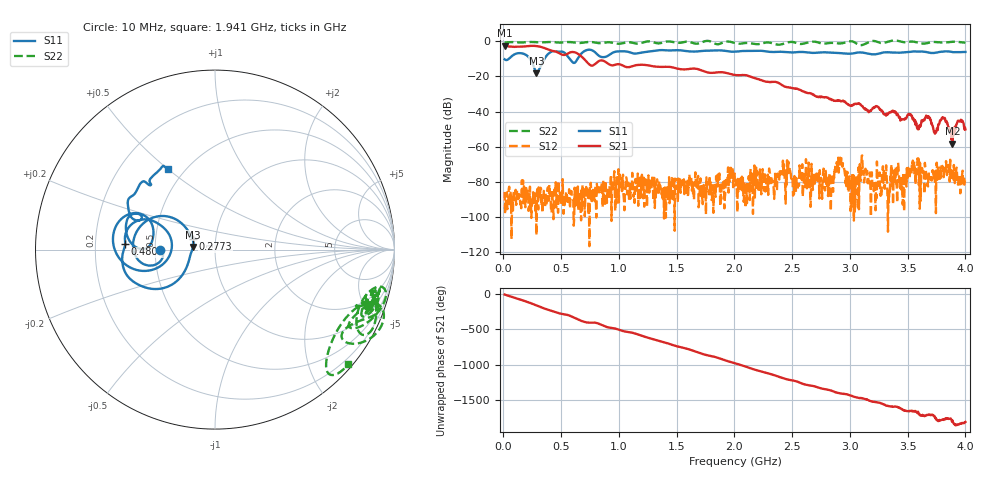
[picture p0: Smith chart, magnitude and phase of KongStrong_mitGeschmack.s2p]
!  26/06/2026  14:34:36
! Ref Plane: 0.000 mm
# MHZ S MA R  50
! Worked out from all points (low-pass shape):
!   1001 points, 10 MHz to 4 GHz, reference 50 ohm
!   highest |S21| = -2.52 dB at 10 MHz (marker M1); lowest = -58.2 dB at 3.888 GHz (marker M2)
!   |S21| within 3 dB of the highest: start of sweep to 426.4 MHz
!   lowest |S11| = -18.3 dB at 285.3 MHz (marker M3), VSWR 1.28, Z = 39.2 + j1.19 ohm
!   |S11| at or under -10 dB: start of sweep to 46.82 MHz; 228.7 MHz to 355.3 MHz (126.6 MHz wide, 43.4 % of centre); 574 MHz to 642.5 MHz (68.49 MHz wide, 11.3 % of centre)
!   |S22| runs from -2.3 to 0.4 dB; largest |S21 - S12| = 0.75
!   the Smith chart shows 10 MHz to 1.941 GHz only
!   S11 on the Smith chart (normalised r, x): 10 MHz: 0.53, -0.00; 277.3 MHz: 0.77, +0.09; 480.8 MHz: 0.33, +0.03; 1.941 GHz: 0.41, +0.50
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10  0.3058 -179.4  0.7481 -7.6  5.228e-05 -42.4  0.9101 -20.1
161.62  0.4496 168.0  0.7003 -87.0  0.0001126 79.3  0.9176 -17.7
277.33  0.1366 155.2  0.7294 -155.5  1.511e-05 -148.6  0.9433 -18.4
285.31  0.1223 173.0  0.7299 -160.5  3.077e-06 122.9  0.9355 -18.9
480.82  0.501 176.6  0.4599 87.9  3.484e-05 28.6  0.9103 -22.8
676.33  0.4504 -165.4  0.3658 -21.1  6.797e-05 -179.2  0.8966 -24.2
1015.48  0.5164 162.5  0.2163 -153.8  7.114e-05 131.6  0.8541 -21.1
1342.66  0.5535 151.4  0.1863 60.0  4.203e-05 -19.6  0.865 -21.6
1941.16  0.5173 120.1  0.1232 130.4  0.0001553 -33.6  0.9794 -40.7
2005  0.5029 117.3  0.1093 100.9  7.912e-05 45.0  0.8847 -17.0
2671.33  0.4652 100.3  0.03206 143.0  7.952e-05 69.3  0.9646 -22.6
2834.92  0.4715 98.2  0.02252 75.3  1.488e-05 -92.8  0.896 -50.6
2918.71  0.4553 97.0  0.01961 35.5  0.0003145 -147.7  0.8628 -44.1
3002.5  0.4394 92.8  0.01466 8.3  9.259e-05 -140.5  0.9926 -18.9
3102.25  0.4758 94.0  0.01456 -33.5  0.0005514 118.8  0.7732 -47.3
3337.66  0.4835 84.9  0.009269 -145.9  2.591e-05 -160.3  0.9855 -36.1
3445.39  0.4739 82.9  0.00608 177.4  6.077e-05 -80.9  0.9658 -1.5
3545.14  0.508 81.7  0.005947 147.3  0.0004054 54.9  0.9732 -27.6
3740.65  0.4669 80.7  0.002741 53.8  0.000166 19.4  0.9456 -28.2
3816.46  0.5108 82.2  0.006411 27.2  0.0002709 15.5  0.9143 -18.9
3888.28  0.4892 84.4  0.001226 13.9  0.0002372 -29.9  0.9618 -9.4
4000  0.4948 80.8  0.003124 -8.4  0.000113 17.1  0.9038 -9.6
